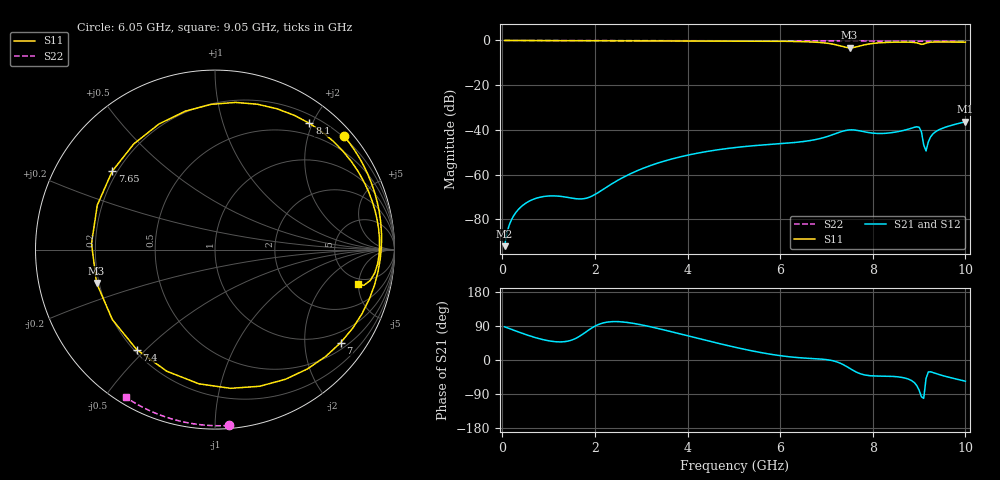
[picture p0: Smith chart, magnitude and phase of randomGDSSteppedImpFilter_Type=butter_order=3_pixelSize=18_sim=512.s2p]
! freq	dB(S11)	phase(S11)	dB(S12)	phase(S12)
!  dB(S21)	phase(S21)	dB(S22)	phase(S22)
!S-par simulation data
#  GHz  S  DB  R 50
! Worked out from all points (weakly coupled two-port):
!   200 points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, 50 MHz to 10 GHz, reference 50 ohm
!   highest |S21| = -36.34 dB at 10 GHz (marker M1); lowest = -92.0 dB at 50 MHz (marker M2)
!   lowest |S11| = -3.3 dB at 7.5 GHz (marker M3), VSWR 5.36, Z = 9.5 - j6.69 ohm
!   |S11| at or under -10 dB: nowhere
!   |S22| runs from -0.4 to 0.0 dB; largest |S21 - S12| = 0
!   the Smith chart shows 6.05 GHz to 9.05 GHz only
!   S11 on the Smith chart (normalised r, x): 6.05 GHz: 0.17, +2.65; 7 GHz: 0.67, -2.89; 7.4 GHz: 0.21, -0.47; 7.65 GHz: 0.18, +0.33; 8.1 GHz: 0.32, +1.96; 9.05 GHz: 4.21, -4.88
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0.05  -0.00 -4.0  -91.97 87.7  -91.97 87.7  -0.00 -0.8
0.9  -0.08 -68.1  -69.75 53.2  -69.75 53.2  -0.02 -13.7
1.75  -0.12 -121.0  -70.78 69.2  -70.78 69.2  -0.03 -26.4
2.55  -0.15 -161.6  -61.88 100.9  -61.88 100.9  -0.05 -38.1
3.4  -0.17 160.7  -54.55 82.1  -54.55 82.1  -0.07 -50.2
4.3  -0.21 122.7  -50.07 54.9  -50.07 54.9  -0.09 -62.6
5.05  -0.25 90.3  -47.82 33.0  -47.82 33.0  -0.11 -72.6
6.05  -0.38 41.3  -46.07 10.6  -46.07 10.6  -0.15 -85.5
6.7  -0.70 -3.2  -44.57 3.8  -44.57 3.8  -0.18 -93.5
7  -1.20 -36.5  -43.06 1.0  -43.06 1.0  -0.20 -97.2
7.25  -2.18 -83.6  -41.26 -6.1  -41.26 -6.1  -0.21 -100.2
7.4  -3.00 -128.0  -40.30 -14.7  -40.30 -14.7  -0.22 -102.0
7.5  -3.28 -164.2  -39.99 -22.0  -39.99 -22.0  -0.23 -103.2
7.65  -2.85 142.6  -40.16 -32.2  -40.16 -32.2  -0.24 -105.0
7.85  -1.83 91.5  -40.97 -40.0  -40.97 -40.0  -0.25 -107.3
8.1  -1.12 53.2  -41.58 -42.3  -41.58 -42.3  -0.27 -110.2
8.35  -0.83 28.7  -41.37 -42.8  -41.37 -42.8  -0.29 -113.2
8.75  -0.75 0.9  -39.76 -49.6  -39.76 -49.6  -0.32 -117.8
9.05  -1.74 -13.5  -40.73 -96.8  -40.73 -96.8  -0.34 -121.2
9.15  -1.16 -13.2  -49.40 -48.9  -49.40 -48.9  -0.36 -122.4
9.35  -0.69 -24.2  -40.90 -35.3  -40.90 -35.3  -0.38 -124.6
10  -0.77 -51.7  -36.34 -56.0  -36.34 -56.0  -0.45 -132.0
